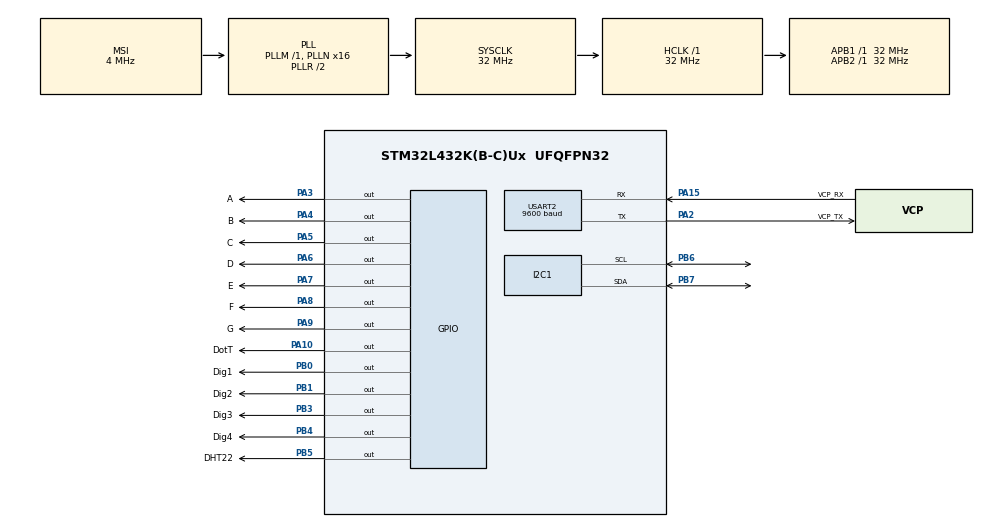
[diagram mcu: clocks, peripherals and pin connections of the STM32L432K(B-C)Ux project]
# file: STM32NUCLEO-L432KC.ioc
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I2C1.Timing=0x00707CBB
Mcu.Family=STM32L4
Mcu.Name=STM32L432K(B-C)Ux
Mcu.Package=UFQFPN32
NVIC.PriorityGroup=NVIC_PRIORITYGROUP_4
NVIC.RCC_IRQn=true\:0\:0\:false\:false\:true\:true\:false
NVIC.TIM6_DAC_IRQn=true\:0\:0\:false\:false\:true\:true\:true
NVIC.TIM7_IRQn=true\:0\:0\:false\:false\:true\:true\:true
NVIC.USART2_IRQn=true\:0\:0\:false\:true\:true\:2\:true\:true
PA0.GPIO_Label=MCO [High speed clock in]
PA0.Mode=HSE-External-Clock-Source-for-LittleOrca
PA0.Signal=RCC_CK_IN
PA10.GPIO_Label=DotT
PA10.Signal=GPIO_Output
PA13\ (JTMS-SWDIO).GPIO_Label=SWDIO
PA13\ (JTMS-SWDIO).Mode=Serial_Wire
PA13\ (JTMS-SWDIO).Signal=SYS_JTMS-SWDIO
PA14\ (JTCK-SWCLK).GPIO_Label=SWCLK
PA14\ (JTCK-SWCLK).Mode=Serial_Wire
PA14\ (JTCK-SWCLK).Signal=SYS_JTCK-SWCLK
PA15\ (JTDI).GPIO_Label=VCP_RX
PA15\ (JTDI).Mode=Asynchronous
PA15\ (JTDI).Signal=USART2_RX
PA2.GPIO_Label=VCP_TX
PA2.Mode=Asynchronous
PA2.Signal=USART2_TX
PA3.GPIO_Label=A
PA3.Signal=GPIO_Output
PA4.GPIO_Label=B
PA4.Signal=GPIO_Output
PA5.GPIO_Label=C
PA5.Signal=GPIO_Output
PA6.GPIO_Label=D
PA6.Signal=GPIO_Output
PA7.GPIO_Label=E
PA7.Signal=GPIO_Output
PA8.GPIO_Label=F
PA8.Signal=GPIO_Output
PA9.GPIO_Label=G
PA9.Signal=GPIO_Output
PB0.GPIO_Label=Dig1
PB0.Signal=GPIO_Output
PB1.GPIO_Label=Dig2
PB1.Signal=GPIO_Output
PB3\ (JTDO-TRACESWO).GPIO_Label=Dig3
PB3\ (JTDO-TRACESWO).Signal=GPIO_Output
PB4\ (NJTRST).GPIO_Label=Dig4
PB4\ (NJTRST).Signal=GPIO_Output
PB5.GPIO_Label=DHT22
PB5.Signal=GPIO_Output
PB6.Mode=I2C
PB6.Signal=I2C1_SCL
PB7.Mode=I2C
PB7.Signal=I2C1_SDA
PC14-OSC32_IN\ (PC14).Mode=LSE-External-Oscillator
PC14-OSC32_IN\ (PC14).Signal=RCC_OSC32_IN
PC15-OSC32_OUT\ (PC15).Mode=LSE-External-Oscillator
PC15-OSC32_OUT\ (PC15).Signal=RCC_OSC32_OUT
ProjectManager.HeapSize=0x200
ProjectManager.StackSize=0x400
ProjectManager.TargetToolchain=STM32CubeIDE
RCC.AHBFreq_Value=32000000
RCC.APB1Freq_Value=32000000
RCC.APB1TimFreq_Value=32000000
RCC.APB2Freq_Value=32000000
RCC.APB2TimFreq_Value=32000000
RCC.CortexFreq_Value=32000000
RCC.HCLKFreq_Value=32000000
RCC.HSE_VALUE=8000000
RCC.HSI16_VALUE=16000000
RCC.HSI48_VALUE=48000000
RCC.HSI_VALUE=16000000
RCC.MSI_VALUE=4000000
RCC.PLLMUL=RCC_PLLMUL_4
RCC.PLLN=16
RCC.SYSCLKFreq_VALUE=32000000
RCC.SYSCLKSource=RCC_SYSCLKSOURCE_PLLCLK
RCC.VCOOutputFreq_Value=64000000
TIM6.Period=3199
TIM6.Prescaler=9999
TIM7.Period=3
TIM7.Prescaler=9999
USART2.BaudRate=9600
USART2.VirtualMode-Asynchronous=VM_ASYNC
VP_TIM6_VS_ClockSourceINT.Mode=Enable_Timer
VP_TIM7_VS_ClockSourceINT.Mode=Enable_Timer
board=NUCLEO-L432KC

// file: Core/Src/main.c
/* USER CODE BEGIN Header */
/**
  ******************************************************************************
  * @file           : main.c
  * @brief          : Main program body
  ******************************************************************************
  * @attention
  *
  * <h2><center>&copy; Copyright (c) 2021 STMicroelectronics.
  * All rights reserved.</center></h2>
  *
  * This software component is licensed by ST under BSD 3-Clause license,
  * the "License"; You may not use this file except in compliance with the
  * License. You may obtain a copy of the License at:
  *                        opensource.org/licenses/BSD-3-Clause
  *
  ******************************************************************************

  Atmega328P-PU <--> Nucleo-L432KC
			    Uart1

  ******************************************************************************
  */
/* USER CODE END Header */
#include "main.h"

/* USER CODE BEGIN Includes */
#include "i2c-lcd.h"
/* USER CODE END Includes */

I2C_HandleTypeDef hi2c1;

TIM_HandleTypeDef htim6;
TIM_HandleTypeDef htim7;

UART_HandleTypeDef huart2;

/* USER CODE BEGIN PV */
int Seg_Out = 5678; //세그먼트에 표시될 숫자
uint8_t rx2_data;
uint8_t buff[10];//uart 입력 버퍼
uint8_t ms = 0;
int buffcheck = 0;
/* USER CODE END PV */

void SystemClock_Config(void);
static void MX_GPIO_Init(void);
static void MX_USART2_UART_Init(void);
static void MX_TIM6_Init(void);
static void MX_TIM7_Init(void);
static void MX_I2C1_Init(void);
static void MX_NVIC_Init(void);

/* USER CODE BEGIN 0 */
int buffcount = 9;

void HAL_UART_RxCpltCallback(UART_HandleTypeDef *huart){

	if(huart->Instance == USART1){
		HAL_UART_Transmit(&huart2, &rx2_data, 1, 10);
	}
}

void HAL_TIM_PeriodElapsedCallback(TIM_HandleTypeDef *htim)//타이머 인터럽트
{

  if(htim->Instance == TIM6){//타이머6 인터럽트 실행(1초)
	  HAL_GPIO_TogglePin(GPIOA, DotT_Pin);
	  HAL_GPIO_TogglePin(GPIOB, DHT22_Pin);
	  Seg_Out++;

  }

  if(htim->Instance == TIM7){//타이머6 인터럽트 실행(ms)
  	  ms++;

    }

  /* NOTE : This function should not be modified, when the callback is needed,
            the HAL_TIM_PeriodElapsedCallback could be implemented in the user file
   */
}

void Seg_Off(void){

	HAL_GPIO_WritePin(GPIOA, A_Pin|B_Pin|C_Pin|D_Pin|E_Pin|F_Pin|G_Pin, 0); //세그먼트 구성 핀 모두 끄기
	HAL_GPIO_WritePin(GPIOB, Dig1_Pin|Dig2_Pin|Dig3_Pin|Dig4_Pin, 1); //세그먼트 Dgit핀 모두 끄기

}

int segdig = 0;//세그먼트 출력 자릿수 저장을 위한 전역변수
void Segment() {
	unsigned char List_Of_Segment_Info[10] = { 0xC0, 0xF9, 0xA4, 0xB0, 0x99,
	 		  0x92, 0x82, 0xD8, 0x80, 0x98 };
	int addr[4];
	Seg_Off(); // 모든 세그먼트 끄기

	addr[0] = Seg_Out / 1000;
	addr[1] = Seg_Out % 1000 / 100;
	addr[2] = Seg_Out % 100 / 10;
	addr[3] = Seg_Out % 10;

	uint16_t i[4] = {1,2,8,16}; //세그먼트 Dgit 조정

//	HAL_GPIO_WritePin(GPIOB, i[segdig], 0); 아랫줄로 대체
	GPIOB->BRR = (uint32_t)i[segdig];

	uint16_t j = 0;//출력 핀과 입력 값의 비트연산을 위한 변수

	j = (~(List_Of_Segment_Info[addr[segdig]]&0xFF))<<4; // = 과|= 의 차이가 없음 이유가 뭘까..?
//	HAL_GPIO_WritePin(GPIOA, j, 1); 아랫줄로 대체
	GPIOA->BSRR = (uint32_t)j;
	segdig++;
	if (segdig == 4){
		segdig = 0;
	}

}

/* USER CODE END 0 */

int main(void)
{

  /* MCU Configuration--------------------------------------------------------*/

  /* Reset of all peripherals, Initializes the Flash interface and the Systick. */
  HAL_Init();

  /* Configure the system clock */
  SystemClock_Config();

  /* Initialize all configured peripherals */
  MX_GPIO_Init();
  MX_USART2_UART_Init();
  MX_TIM6_Init();
  MX_TIM7_Init();
  MX_I2C1_Init();
  /* Initialize interrupts */
  MX_NVIC_Init();
  /* USER CODE BEGIN 2 */
  HAL_TIM_Base_Start_IT(&htim6);//타이머 인터럽트 시작
  HAL_TIM_Base_Start_IT(&htim7);
  HAL_UART_Receive_IT(&huart2, &rx2_data, 2);//uart2 인터럽트실행을 위한 기능
  lcd_init();
  lcd_send_string("test");

  /* USER CODE END 2 */

  /* Infinite loop */
  /* USER CODE BEGIN WHILE */
  while (1)
  {

//	  if (ms > 3){
//		  Segment();//3ms마다 세븐세그먼트를 출력
//		  ms = 0;
//	  }

    /* USER CODE END WHILE */

  }
}

void SystemClock_Config(void)
{
  RCC_OscInitTypeDef RCC_OscInitStruct = {0};
  RCC_ClkInitTypeDef RCC_ClkInitStruct = {0};

  /** Configure the main internal regulator output voltage
  */
  if (HAL_PWREx_ControlVoltageScaling(PWR_REGULATOR_VOLTAGE_SCALE1) != HAL_OK)
  {
    Error_Handler();
  }
  /** Configure LSE Drive Capability
  */
  HAL_PWR_EnableBkUpAccess();
  __HAL_RCC_LSEDRIVE_CONFIG(RCC_LSEDRIVE_LOW);
  /** Initializes the RCC Oscillators according to the specified parameters
  * in the RCC_OscInitTypeDef structure.
  */
  RCC_OscInitStruct.OscillatorType = RCC_OSCILLATORTYPE_LSE|RCC_OSCILLATORTYPE_MSI;
  RCC_OscInitStruct.LSEState = RCC_LSE_ON;
  RCC_OscInitStruct.MSIState = RCC_MSI_ON;
  RCC_OscInitStruct.MSICalibrationValue = 0;
  RCC_OscInitStruct.MSIClockRange = RCC_MSIRANGE_6;
  RCC_OscInitStruct.PLL.PLLState = RCC_PLL_ON;
  RCC_OscInitStruct.PLL.PLLSource = RCC_PLLSOURCE_MSI;
  RCC_OscInitStruct.PLL.PLLM = 1;
  RCC_OscInitStruct.PLL.PLLN = 16;
  RCC_OscInitStruct.PLL.PLLP = RCC_PLLP_DIV7;
  RCC_OscInitStruct.PLL.PLLQ = RCC_PLLQ_DIV2;
  RCC_OscInitStruct.PLL.PLLR = RCC_PLLR_DIV2;
  if (HAL_RCC_OscConfig(&RCC_OscInitStruct) != HAL_OK)
  {
    Error_Handler();
  }
  /** Initializes the CPU, AHB and APB buses clocks
  */
  RCC_ClkInitStruct.ClockType = RCC_CLOCKTYPE_HCLK|RCC_CLOCKTYPE_SYSCLK
                              |RCC_CLOCKTYPE_PCLK1|RCC_CLOCKTYPE_PCLK2;
  RCC_ClkInitStruct.SYSCLKSource = RCC_SYSCLKSOURCE_PLLCLK;
  RCC_ClkInitStruct.AHBCLKDivider = RCC_SYSCLK_DIV1;
  RCC_ClkInitStruct.APB1CLKDivider = RCC_HCLK_DIV1;
  RCC_ClkInitStruct.APB2CLKDivider = RCC_HCLK_DIV1;

  if (HAL_RCC_ClockConfig(&RCC_ClkInitStruct, FLASH_LATENCY_1) != HAL_OK)
  {
    Error_Handler();
  }
  /** Enable MSI Auto calibration
  */
  HAL_RCCEx_EnableMSIPLLMode();
}

/**
  * @brief NVIC Configuration.
  * @retval None
  */
static void MX_NVIC_Init(void)
{
  /* USART2_IRQn interrupt configuration */
  HAL_NVIC_SetPriority(USART2_IRQn, 0, 0);
  HAL_NVIC_EnableIRQ(USART2_IRQn);
}

static void MX_I2C1_Init(void)
{

  hi2c1.Instance = I2C1;
  hi2c1.Init.Timing = 0x00707CBB;
  hi2c1.Init.OwnAddress1 = 0;
  hi2c1.Init.AddressingMode = I2C_ADDRESSINGMODE_7BIT;
  hi2c1.Init.DualAddressMode = I2C_DUALADDRESS_DISABLE;
  hi2c1.Init.OwnAddress2 = 0;
  hi2c1.Init.OwnAddress2Masks = I2C_OA2_NOMASK;
  hi2c1.Init.GeneralCallMode = I2C_GENERALCALL_DISABLE;
  hi2c1.Init.NoStretchMode = I2C_NOSTRETCH_DISABLE;
  if (HAL_I2C_Init(&hi2c1) != HAL_OK)
  {
    Error_Handler();
  }
  /** Configure Analogue filter
  */
  if (HAL_I2CEx_ConfigAnalogFilter(&hi2c1, I2C_ANALOGFILTER_ENABLE) != HAL_OK)
  {
    Error_Handler();
  }
  /** Configure Digital filter
  */
  if (HAL_I2CEx_ConfigDigitalFilter(&hi2c1, 0) != HAL_OK)
  {
    Error_Handler();
  }

}

static void MX_TIM6_Init(void)
{

  TIM_MasterConfigTypeDef sMasterConfig = {0};

  htim6.Instance = TIM6;
  htim6.Init.Prescaler = 9999;
  htim6.Init.CounterMode = TIM_COUNTERMODE_UP;
  htim6.Init.Period = 3199;
  htim6.Init.AutoReloadPreload = TIM_AUTORELOAD_PRELOAD_DISABLE;
  if (HAL_TIM_Base_Init(&htim6) != HAL_OK)
  {
    Error_Handler();
  }
  sMasterConfig.MasterOutputTrigger = TIM_TRGO_RESET;
  sMasterConfig.MasterSlaveMode = TIM_MASTERSLAVEMODE_DISABLE;
  if (HAL_TIMEx_MasterConfigSynchronization(&htim6, &sMasterConfig) != HAL_OK)
  {
    Error_Handler();
  }

}

static void MX_TIM7_Init(void)
{

  TIM_MasterConfigTypeDef sMasterConfig = {0};

  htim7.Instance = TIM7;
  htim7.Init.Prescaler = 9999;
  htim7.Init.CounterMode = TIM_COUNTERMODE_UP;
  htim7.Init.Period = 3;
  htim7.Init.AutoReloadPreload = TIM_AUTORELOAD_PRELOAD_DISABLE;
  if (HAL_TIM_Base_Init(&htim7) != HAL_OK)
  {
    Error_Handler();
  }
  sMasterConfig.MasterOutputTrigger = TIM_TRGO_RESET;
  sMasterConfig.MasterSlaveMode = TIM_MASTERSLAVEMODE_DISABLE;
  if (HAL_TIMEx_MasterConfigSynchronization(&htim7, &sMasterConfig) != HAL_OK)
  {
    Error_Handler();
  }

}

static void MX_USART2_UART_Init(void)
{

  huart2.Instance = USART2;
  huart2.Init.BaudRate = 9600;
  huart2.Init.WordLength = UART_WORDLENGTH_8B;
  huart2.Init.StopBits = UART_STOPBITS_1;
  huart2.Init.Parity = UART_PARITY_NONE;
  huart2.Init.Mode = UART_MODE_TX_RX;
  huart2.Init.HwFlowCtl = UART_HWCONTROL_NONE;
  huart2.Init.OverSampling = UART_OVERSAMPLING_16;
  huart2.Init.OneBitSampling = UART_ONE_BIT_SAMPLE_DISABLE;
  huart2.AdvancedInit.AdvFeatureInit = UART_ADVFEATURE_NO_INIT;
  if (HAL_UART_Init(&huart2) != HAL_OK)
  {
    Error_Handler();
  }

}

static void MX_GPIO_Init(void)
{
  GPIO_InitTypeDef GPIO_InitStruct = {0};

  /* GPIO Ports Clock Enable */
  __HAL_RCC_GPIOC_CLK_ENABLE();
  __HAL_RCC_GPIOA_CLK_ENABLE();
  __HAL_RCC_GPIOB_CLK_ENABLE();

  /*Configure GPIO pin Output Level */
  HAL_GPIO_WritePin(GPIOA, A_Pin|B_Pin|C_Pin|D_Pin
                          |E_Pin|F_Pin|G_Pin|DotT_Pin, GPIO_PIN_RESET);

  /*Configure GPIO pin Output Level */
  HAL_GPIO_WritePin(GPIOB, Dig1_Pin|Dig2_Pin|Dig3_Pin|Dig4_Pin
                          |DHT22_Pin, GPIO_PIN_RESET);

  /*Configure GPIO pins : A_Pin B_Pin C_Pin D_Pin
                           E_Pin F_Pin G_Pin DotT_Pin */
  GPIO_InitStruct.Pin = A_Pin|B_Pin|C_Pin|D_Pin
                          |E_Pin|F_Pin|G_Pin|DotT_Pin;
  GPIO_InitStruct.Mode = GPIO_MODE_OUTPUT_PP;
  GPIO_InitStruct.Pull = GPIO_NOPULL;
  GPIO_InitStruct.Speed = GPIO_SPEED_FREQ_LOW;
  HAL_GPIO_Init(GPIOA, &GPIO_InitStruct);

  /*Configure GPIO pins : Dig1_Pin Dig2_Pin Dig3_Pin Dig4_Pin
                           DHT22_Pin */
  GPIO_InitStruct.Pin = Dig1_Pin|Dig2_Pin|Dig3_Pin|Dig4_Pin
                          |DHT22_Pin;
  GPIO_InitStruct.Mode = GPIO_MODE_OUTPUT_PP;
  GPIO_InitStruct.Pull = GPIO_NOPULL;
  GPIO_InitStruct.Speed = GPIO_SPEED_FREQ_LOW;
  HAL_GPIO_Init(GPIOB, &GPIO_InitStruct);

}

void Error_Handler(void)
{
  __disable_irq();
  while (1)
  {
  }
}

/************************ (C) COPYRIGHT STMicroelectronics *****END OF FILE****/
